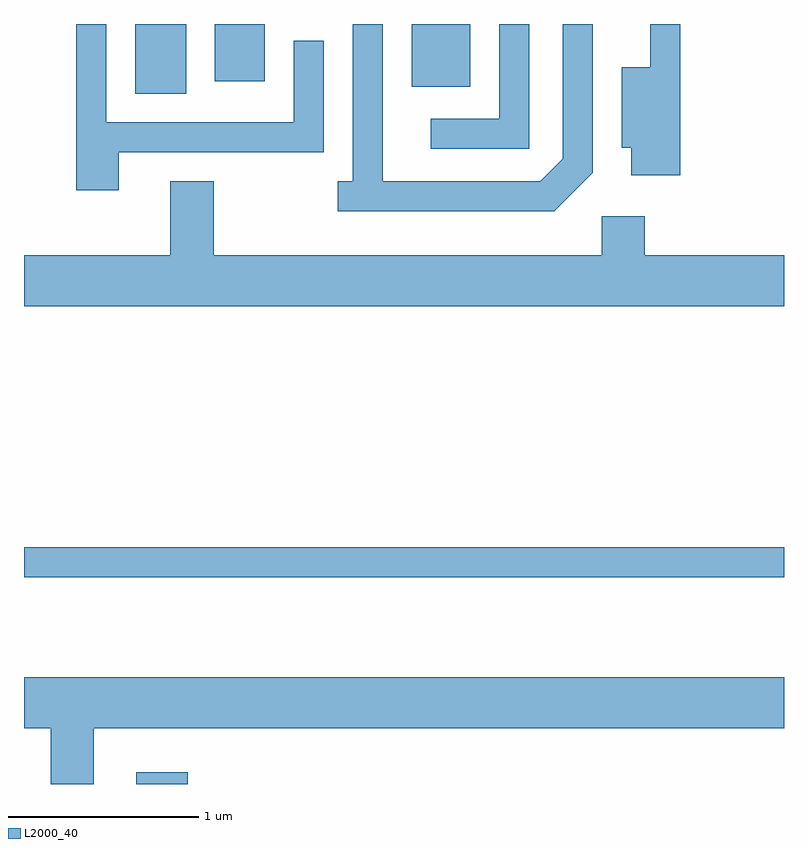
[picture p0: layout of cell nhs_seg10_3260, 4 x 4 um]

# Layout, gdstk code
import gdstk
lib = gdstk.Library(unit=1e-6, precision=1e-09)
def R(c, l, rs):  # rectangles x0, y0, x1, y1
    for r in rs: c.add(gdstk.rectangle(r[:2], r[2:], *l))
def P(c, l, *ps):  # polygons
    for p in ps: c.add(gdstk.Polygon(p, *l))
L2000_40 = (2000, 40)

nhs_seg10_3260 = lib.new_cell('nhs_seg10_3260')
R(nhs_seg10_3260, L2000_40, [(282.203,2102.522,282.474,2102.584), (281.611,2103.611,285.611,2103.769), (282.196,2106.156,282.464,2106.522), (283.651,2106.191,283.959,2106.522), (282.616,2106.221,282.879,2106.522)])
P(nhs_seg10_3260, L2000_40, [(284.604,2105.739),(284.604,2106.522),(284.446,2106.522),(284.446,2105.812),(284.329,2105.694),(283.499,2105.694),(283.499,2106.522),(283.341,2106.522),(283.341,2105.694),(283.263,2105.694),(283.263,2105.536),(284.402,2105.536)],
  [(285.064,2106.522),(284.906,2106.522),(284.906,2106.294),(284.756,2106.294),(284.756,2105.871),(284.806,2105.871),(284.806,2105.726),(285.064,2105.726)],
  [(284.269,2106.522),(284.111,2106.522),(284.111,2106.024),(283.753,2106.024),(283.753,2105.866),(284.269,2105.866)],
  [(282.109,2105.846),(283.189,2105.846),(283.189,2106.433),(283.031,2106.433),(283.031,2106.004),(282.044,2106.004),(282.044,2106.522),(281.886,2106.522),(281.886,2105.646),(282.109,2105.646)],
  [(285.611,2105.304),(284.879,2105.304),(284.879,2105.509),(284.651,2105.509),(284.651,2105.304),(282.609,2105.304),(282.609,2105.694),(282.381,2105.694),(282.381,2105.304),(281.611,2105.304),(281.611,2105.036),(285.611,2105.036)],
  [(281.611,2102.816),(281.751,2102.816),(281.751,2102.522),(281.979,2102.522),(281.979,2102.816),(285.611,2102.816),(285.611,2103.084),(281.611,2103.084)])

lib.write_gds('nhs_seg10_3260.gds')
